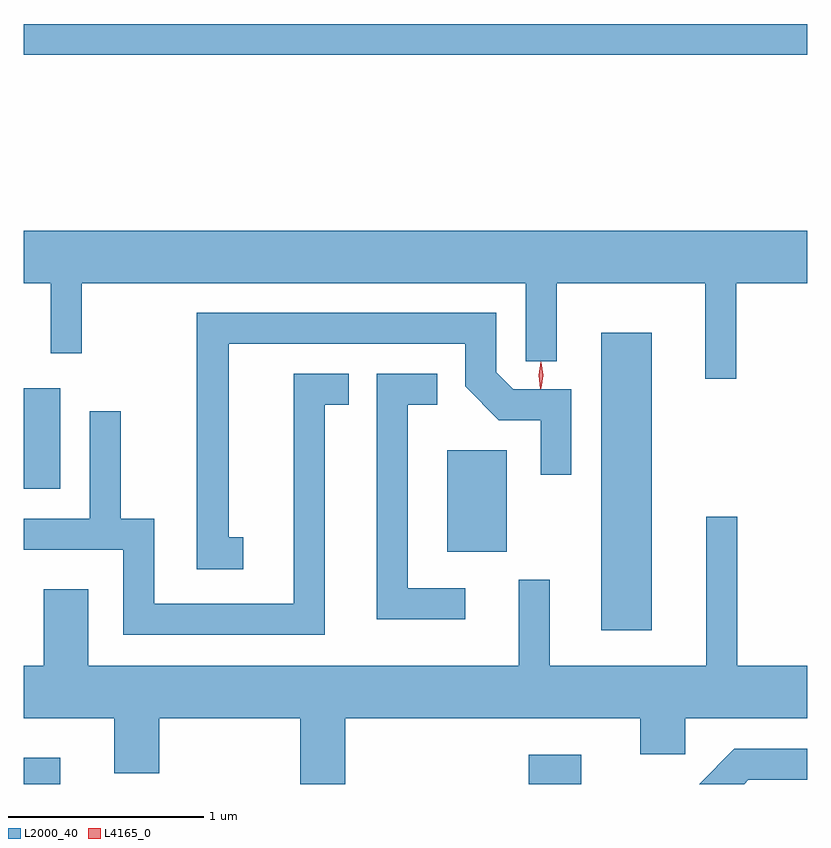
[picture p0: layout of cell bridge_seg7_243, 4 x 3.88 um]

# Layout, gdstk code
import gdstk
lib = gdstk.Library(unit=1e-6, precision=1e-09)
def R(c, l, rs):  # rectangles x0, y0, x1, y1
    for r in rs: c.add(gdstk.rectangle(r[:2], r[2:], *l))
def P(c, l, *ps):  # polygons
    for p in ps: c.add(gdstk.Polygon(p, *l))
L2000_40 = (2000, 40)
L4165_0 = (4165, 0)

bridge_seg7_243 = lib.new_cell('bridge_seg7_243')
R(bridge_seg7_243, L2000_40, [(1782.258,1713.98,1782.444,1714.114), (1784.836,1713.98,1785.104,1714.129), (1785.206,1714.766,1785.464,1716.284), (1784.421,1715.166,1784.724,1715.684), (1782.258,1715.486,1782.444,1715.999), (1782.258,1717.701,1786.258,1717.859)])
P(bridge_seg7_243, L2000_40, [(1785.894,1716.536),(1786.258,1716.536),(1786.258,1716.804),(1782.258,1716.804),(1782.258,1716.536),(1782.396,1716.536),(1782.396,1716.178),(1782.554,1716.178),(1782.554,1716.536),(1784.821,1716.536),(1784.821,1716.138),(1784.979,1716.138),(1784.979,1716.536),(1785.736,1716.536),(1785.736,1716.048),(1785.894,1716.048)],
  [(1783.378,1715.239),(1783.304,1715.239),(1783.304,1716.226),(1784.511,1716.226),(1784.511,1716.009),(1784.684,1715.836),(1784.896,1715.836),(1784.896,1715.558),(1785.054,1715.558),(1785.054,1715.994),(1784.757,1715.994),(1784.669,1716.082),(1784.669,1716.384),(1783.141,1716.384),(1783.141,1715.076),(1783.378,1715.076)],
  [(1783.794,1715.916),(1783.918,1715.916),(1783.918,1716.074),(1783.636,1716.074),(1783.636,1714.899),(1782.924,1714.899),(1782.924,1715.334),(1782.754,1715.334),(1782.754,1715.883),(1782.596,1715.883),(1782.596,1715.334),(1782.258,1715.334),(1782.258,1715.176),(1782.766,1715.176),(1782.766,1714.741),(1783.794,1714.741)],
  [(1784.513,1714.979),(1784.219,1714.979),(1784.219,1715.916),(1784.368,1715.916),(1784.368,1716.074),(1784.061,1716.074),(1784.061,1714.821),(1784.513,1714.821)],
  [(1783.899,1714.316),(1785.406,1714.316),(1785.406,1714.131),(1785.634,1714.131),(1785.634,1714.316),(1786.258,1714.316),(1786.258,1714.584),(1785.899,1714.584),(1785.899,1715.343),(1785.741,1715.343),(1785.741,1714.584),(1784.944,1714.584),(1784.944,1715.023),(1784.786,1715.023),(1784.786,1714.584),(1782.589,1714.584),(1782.589,1714.974),(1782.361,1714.974),(1782.361,1714.584),(1782.258,1714.584),(1782.258,1714.316),(1782.721,1714.316),(1782.721,1714.036),(1782.949,1714.036),(1782.949,1714.316),(1783.671,1714.316),(1783.671,1713.98),(1783.899,1713.98)],
  [(1785.957,1714.001),(1786.258,1714.001),(1786.258,1714.159),(1785.884,1714.159),(1785.705,1713.98),(1785.936,1713.98)])
P(bridge_seg7_243, L4165_0, [(1784.898,1715.999),(1784.898,1715.999),(1784.889,1716.066),(1784.899,1716.132),(1784.899,1716.132),(1784.9,1716.132),(1784.909,1716.065),(1784.899,1715.999)],
  [(1784.895,1715.996),(1784.895,1715.997),(1784.886,1716.066),(1784.896,1716.135),(1784.896,1716.136),(1784.897,1716.135),(1784.906,1716.066),(1784.896,1715.997)])

lib.write_gds('bridge_seg7_243.gds')
